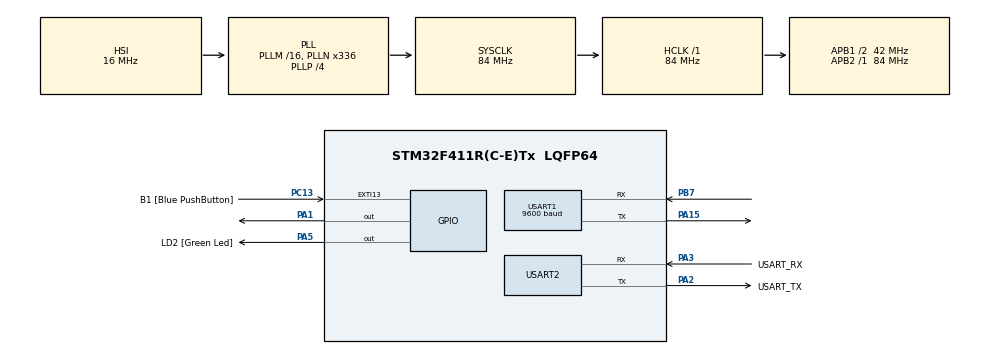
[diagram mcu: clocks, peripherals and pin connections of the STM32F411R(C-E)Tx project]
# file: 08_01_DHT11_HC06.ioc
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Mcu.Family=STM32F4
Mcu.Name=STM32F411R(C-E)Tx
Mcu.Package=LQFP64
NVIC.PriorityGroup=NVIC_PRIORITYGROUP_0
NVIC.USART1_IRQn=true\:0\:0\:false\:false\:true\:true\:true\:true
NVIC.USART2_IRQn=true\:0\:0\:false\:false\:true\:true\:true\:true
PA1.Signal=GPIO_Output
PA13.GPIO_Label=TMS
PA13.Mode=Serial_Wire
PA13.Signal=SYS_JTMS-SWDIO
PA14.GPIO_Label=TCK
PA14.Mode=Serial_Wire
PA14.Signal=SYS_JTCK-SWCLK
PA15.Mode=Asynchronous
PA15.Signal=USART1_TX
PA2.GPIO_Label=USART_TX
PA2.Mode=Asynchronous
PA2.Signal=USART2_TX
PA3.GPIO_Label=USART_RX
PA3.Mode=Asynchronous
PA3.Signal=USART2_RX
PA5.GPIO_Label=LD2 [Green Led]
PA5.Signal=GPIO_Output
PB3.GPIO_Label=SWO
PB3.Signal=SYS_JTDO-SWO
PB7.Mode=Asynchronous
PB7.Signal=USART1_RX
PC13-ANTI_TAMP.GPIO_Label=B1 [Blue PushButton]
PC13-ANTI_TAMP.GPIO_ModeDefaultEXTI=GPIO_MODE_IT_FALLING
PC13-ANTI_TAMP.Signal=GPXTI13
PC14-OSC32_IN.Mode=LSE-External-Oscillator
PC14-OSC32_IN.Signal=RCC_OSC32_IN
PC15-OSC32_OUT.Mode=LSE-External-Oscillator
PC15-OSC32_OUT.Signal=RCC_OSC32_OUT
PH0\ -\ OSC_IN.Mode=HSE-External-Clock-Source
PH0\ -\ OSC_IN.Signal=RCC_OSC_IN
PH1\ -\ OSC_OUT.Mode=HSE-External-Clock-Source
PH1\ -\ OSC_OUT.Signal=RCC_OSC_OUT
ProjectManager.HeapSize=0x200
ProjectManager.StackSize=0x400
ProjectManager.TargetToolchain=STM32CubeIDE
RCC.48MHZClocksFreq_Value=84000000
RCC.AHBFreq_Value=84000000
RCC.APB1CLKDivider=RCC_HCLK_DIV2
RCC.APB1Freq_Value=42000000
RCC.APB1TimFreq_Value=84000000
RCC.APB2Freq_Value=84000000
RCC.APB2TimFreq_Value=84000000
RCC.CortexFreq_Value=84000000
RCC.FLatency-AdvancedSettings=FLASH_LATENCY_2
RCC.HCLKFreq_Value=84000000
RCC.HSE_VALUE=8000000
RCC.HSI_VALUE=16000000
RCC.PLLN=336
RCC.PLLP=RCC_PLLP_DIV4
RCC.SYSCLKFreq_VALUE=84000000
RCC.SYSCLKSource=RCC_SYSCLKSOURCE_PLLCLK
RCC.VCOOutputFreq_Value=336000000
USART1.BaudRate=9600
USART1.VirtualMode=VM_ASYNC
USART2.VirtualMode=VM_ASYNC
board=NUCLEO-F411RE

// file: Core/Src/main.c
/* USER CODE BEGIN Header */
/**
  ******************************************************************************
  * @file           : main.c
  * @brief          : Main program body
  ******************************************************************************
  * @attention
  *
  * Copyright (c) 2024 STMicroelectronics.
  * All rights reserved.
  *
  * This software is licensed under terms that can be found in the LICENSE file
  * in the root directory of this software component.
  * If no LICENSE file comes with this software, it is provided AS-IS.
  *
  ******************************************************************************
  */
/* USER CODE END Header */
#include "main.h"

/* USER CODE BEGIN Includes */
#include "DHT.h"
#include <stdio.h>

/* USER CODE END Includes */

UART_HandleTypeDef huart1;
UART_HandleTypeDef huart2;

/* USER CODE BEGIN PV */
uint8_t rx1_data;	// Bluetooth - Board
uint8_t rx2_data;	// Board - PC

/* USER CODE END PV */

void SystemClock_Config(void);
static void MX_GPIO_Init(void);
static void MX_USART2_UART_Init(void);
static void MX_USART1_UART_Init(void);

/* USER CODE BEGIN 0 */
int __io_putchar(int ch)
{
	HAL_UART_Transmit(&huart2, &ch, 1, 5);
}

DHT_DataTypedef DHT11_Data;
float Temperature, Humidity;
int i=0;

/* USER CODE END 0 */

int main(void)
{

  /* MCU Configuration--------------------------------------------------------*/

  /* Reset of all peripherals, Initializes the Flash interface and the Systick. */
  HAL_Init();

  /* Configure the system clock */
  SystemClock_Config();

  /* Initialize all configured peripherals */
  MX_GPIO_Init();
  MX_USART2_UART_Init();
  MX_USART1_UART_Init();
  /* USER CODE BEGIN 2 */
  printf("Test Begin 2");

  /*
  printf("\033[H\033[J");	// Screen Clear
  printf("DHT11 Test Start..\r\n");
  printf("---------------------------------\r\n");
  */

  HAL_UART_Receive_IT(&huart1, &rx1_data, sizeof(rx1_data));
  HAL_UART_Receive_IT(&huart2, &rx2_data, sizeof(rx2_data));

  /* USER CODE END 2 */

  /* Infinite loop */
  while (1)
  {

    /* USER CODE BEGIN 3 */

	  /*
	  // DHT11 Dat check
	  DHT_GetData(&DHT11_Data);
	  float Temperature = DHT11_Data.Temperature;
	  float Humidity = DHT11_Data.Humidity;

	  // Check Times Increase
	  i++;
	  */

	  // App Data Send Test
	  printf("Test");

	  /*
	  // Prepare the data to send
	  char buffer[100];
	  // int length = snprintf(buffer, sizeof(buffer), "A, %0.2f%0.2f%%", Temperature);

	  snprintf(buffer, sizeof(buffer), "A, %0.2f\r\n", Temperature);
	  HAL_UART_Transmit(&huart1, (uint8_t*)buffer, strlen(buffer), 10);

	  snprintf(buffer, sizeof(buffer), "B, %0.2f\r\n", Humidity);
	  HAL_UART_Transmit(&huart1, (uint8_t*)buffer, strlen(buffer), 10);
	  */

	  // Data -> UART1
	  // HAL_UART_Transmit(&huart1, (uint8_t*)buffer, length, 10);

	  /*
	  printf("%d회 측정!\r\n",i);
	  printf("----- 온도 : %0.2f'C ----- \r\n", (float)Temperature);
	  printf("----- 습도 : %0.2f%%  ----- \r\n\r\n", (float)Humidity);
	  */

	  // Wait for 3s
	  HAL_Delay(3000);

	  // Clear after 30 count

	  /*
	  if(i >= 30)
	  {
		  length = snprintf(buffer, sizeof(buffer), "%d회 측정 초과로 횟수 초기화. \r\n", i);
		  HAL_UART_Transmit(&huart1, (uint8_t*)buffer, length, 10);
		  i = 0; // Clear i

		  printf("%d회 측정 초과로 횟수 초기화. \r\n", i);
		  i = 0;

	  }
	  */

  }
  /* USER CODE END 3 */
}

void SystemClock_Config(void)
{
  RCC_OscInitTypeDef RCC_OscInitStruct = {0};
  RCC_ClkInitTypeDef RCC_ClkInitStruct = {0};

  /** Configure the main internal regulator output voltage
  */
  __HAL_RCC_PWR_CLK_ENABLE();
  __HAL_PWR_VOLTAGESCALING_CONFIG(PWR_REGULATOR_VOLTAGE_SCALE1);

  /** Initializes the RCC Oscillators according to the specified parameters
  * in the RCC_OscInitTypeDef structure.
  */
  RCC_OscInitStruct.OscillatorType = RCC_OSCILLATORTYPE_HSI;
  RCC_OscInitStruct.HSIState = RCC_HSI_ON;
  RCC_OscInitStruct.HSICalibrationValue = RCC_HSICALIBRATION_DEFAULT;
  RCC_OscInitStruct.PLL.PLLState = RCC_PLL_ON;
  RCC_OscInitStruct.PLL.PLLSource = RCC_PLLSOURCE_HSI;
  RCC_OscInitStruct.PLL.PLLM = 16;
  RCC_OscInitStruct.PLL.PLLN = 336;
  RCC_OscInitStruct.PLL.PLLP = RCC_PLLP_DIV4;
  RCC_OscInitStruct.PLL.PLLQ = 4;
  if (HAL_RCC_OscConfig(&RCC_OscInitStruct) != HAL_OK)
  {
    Error_Handler();
  }

  /** Initializes the CPU, AHB and APB buses clocks
  */
  RCC_ClkInitStruct.ClockType = RCC_CLOCKTYPE_HCLK|RCC_CLOCKTYPE_SYSCLK
                              |RCC_CLOCKTYPE_PCLK1|RCC_CLOCKTYPE_PCLK2;
  RCC_ClkInitStruct.SYSCLKSource = RCC_SYSCLKSOURCE_PLLCLK;
  RCC_ClkInitStruct.AHBCLKDivider = RCC_SYSCLK_DIV1;
  RCC_ClkInitStruct.APB1CLKDivider = RCC_HCLK_DIV2;
  RCC_ClkInitStruct.APB2CLKDivider = RCC_HCLK_DIV1;

  if (HAL_RCC_ClockConfig(&RCC_ClkInitStruct, FLASH_LATENCY_2) != HAL_OK)
  {
    Error_Handler();
  }
}

static void MX_USART1_UART_Init(void)
{

  huart1.Instance = USART1;
  huart1.Init.BaudRate = 9600;
  huart1.Init.WordLength = UART_WORDLENGTH_8B;
  huart1.Init.StopBits = UART_STOPBITS_1;
  huart1.Init.Parity = UART_PARITY_NONE;
  huart1.Init.Mode = UART_MODE_TX_RX;
  huart1.Init.HwFlowCtl = UART_HWCONTROL_NONE;
  huart1.Init.OverSampling = UART_OVERSAMPLING_16;
  if (HAL_UART_Init(&huart1) != HAL_OK)
  {
    Error_Handler();
  }

}

static void MX_USART2_UART_Init(void)
{

  huart2.Instance = USART2;
  huart2.Init.BaudRate = 115200;
  huart2.Init.WordLength = UART_WORDLENGTH_8B;
  huart2.Init.StopBits = UART_STOPBITS_1;
  huart2.Init.Parity = UART_PARITY_NONE;
  huart2.Init.Mode = UART_MODE_TX_RX;
  huart2.Init.HwFlowCtl = UART_HWCONTROL_NONE;
  huart2.Init.OverSampling = UART_OVERSAMPLING_16;
  if (HAL_UART_Init(&huart2) != HAL_OK)
  {
    Error_Handler();
  }

}

static void MX_GPIO_Init(void)
{
  GPIO_InitTypeDef GPIO_InitStruct = {0};

  /* GPIO Ports Clock Enable */
  __HAL_RCC_GPIOC_CLK_ENABLE();
  __HAL_RCC_GPIOH_CLK_ENABLE();
  __HAL_RCC_GPIOA_CLK_ENABLE();
  __HAL_RCC_GPIOB_CLK_ENABLE();

  /*Configure GPIO pin Output Level */
  HAL_GPIO_WritePin(GPIOA, GPIO_PIN_1|LD2_Pin, GPIO_PIN_RESET);

  /*Configure GPIO pin : B1_Pin */
  GPIO_InitStruct.Pin = B1_Pin;
  GPIO_InitStruct.Mode = GPIO_MODE_IT_FALLING;
  GPIO_InitStruct.Pull = GPIO_NOPULL;
  HAL_GPIO_Init(B1_GPIO_Port, &GPIO_InitStruct);

  /*Configure GPIO pins : PA1 LD2_Pin */
  GPIO_InitStruct.Pin = GPIO_PIN_1|LD2_Pin;
  GPIO_InitStruct.Mode = GPIO_MODE_OUTPUT_PP;
  GPIO_InitStruct.Pull = GPIO_NOPULL;
  GPIO_InitStruct.Speed = GPIO_SPEED_FREQ_LOW;
  HAL_GPIO_Init(GPIOA, &GPIO_InitStruct);

}

/* USER CODE BEGIN 4 */
void HAL_UART_RxCpltCallback(UART_HandleTypeDef *huart)
{
	if(huart->Instance == USART2)
	{
		HAL_UART_Transmit(&huart1, &rx2_data, sizeof(rx2_data), 10);
		HAL_UART_Receive_IT(&huart2, &rx2_data, sizeof(rx2_data));
	}
	else if(huart->Instance == USART1)
	{
		HAL_UART_Transmit(&huart2, &rx1_data, sizeof(rx1_data), 10);
		HAL_UART_Receive_IT(&huart1, &rx1_data, sizeof(rx1_data));
	}
}

/* USER CODE END 4 */

void Error_Handler(void)
{
  __disable_irq();
  while (1)
  {
  }
}
